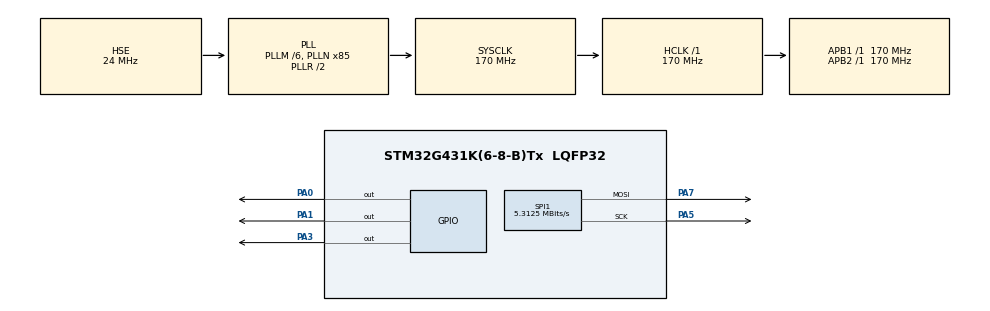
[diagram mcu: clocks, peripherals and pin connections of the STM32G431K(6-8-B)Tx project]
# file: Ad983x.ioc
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Mcu.Family=STM32G4
Mcu.Name=STM32G431K(6-8-B)Tx
Mcu.Package=LQFP32
NVIC.PriorityGroup=NVIC_PRIORITYGROUP_4
NVIC.SPI1_IRQn=true\:0\:0\:false\:false\:true\:true\:true\:true
PA0.Signal=GPIO_Output
PA1.Signal=GPIO_Output
PA13.Mode=Serial_Wire
PA13.Signal=SYS_JTMS-SWDIO
PA14.Mode=Serial_Wire
PA14.Signal=SYS_JTCK-SWCLK
PA3.Signal=GPIO_Output
PA5.Mode=TX_Only_Simplex_Unidirect_Master
PA5.Signal=SPI1_SCK
PA7.Mode=TX_Only_Simplex_Unidirect_Master
PA7.Signal=SPI1_MOSI
PF0-OSC_IN.Mode=HSE-External-Oscillator
PF0-OSC_IN.Signal=RCC_OSC_IN
PF1-OSC_OUT.Mode=HSE-External-Oscillator
PF1-OSC_OUT.Signal=RCC_OSC_OUT
ProjectManager.HeapSize=0x200
ProjectManager.StackSize=0x400
ProjectManager.TargetToolchain=STM32CubeIDE
RCC.ADC12Freq_Value=170000000
RCC.AHBFreq_Value=170000000
RCC.APB1Freq_Value=170000000
RCC.APB1TimFreq_Value=170000000
RCC.APB2Freq_Value=170000000
RCC.APB2TimFreq_Value=170000000
RCC.CortexFreq_Value=170000000
RCC.EXTERNAL_CLOCK_VALUE=12288000
RCC.HCLKFreq_Value=170000000
RCC.HSE_VALUE=24000000
RCC.HSI48_VALUE=48000000
RCC.HSI_VALUE=16000000
RCC.LSE_VALUE=32768
RCC.PLLM=RCC_PLLM_DIV6
RCC.PLLN=85
RCC.PLLSourceVirtual=RCC_PLLSOURCE_HSE
RCC.SYSCLKFreq_VALUE=170000000
RCC.SYSCLKSource=RCC_SYSCLKSOURCE_PLLCLK
RCC.USBFreq_Value=170000000
RCC.VCOOutputFreq_Value=340000000
SPI1.BaudRatePrescaler=SPI_BAUDRATEPRESCALER_32
SPI1.CLKPolarity=SPI_POLARITY_HIGH
SPI1.CalculateBaudRate=5.3125 MBits/s
SPI1.DataSize=SPI_DATASIZE_8BIT
SPI1.Direction=SPI_DIRECTION_2LINES
SPI1.Mode=SPI_MODE_MASTER
SPI1.VirtualType=VM_MASTER
VP_SYS_VS_DBSignals.Mode=DisableDeadBatterySignals
board=custom

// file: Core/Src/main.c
/* USER CODE BEGIN Header */
/**
 ******************************************************************************
 * @file           : main.c
 * @brief          : Main program body
 ******************************************************************************
 * @attention
 *
 * Copyright (c) 2026 STMicroelectronics.
 * All rights reserved.
 *
 * This software is licensed under terms that can be found in the LICENSE file
 * in the root directory of this software component.
 * If no LICENSE file comes with this software, it is provided AS-IS.
 *
 ******************************************************************************
 */
/* USER CODE END Header */
#include "main.h"

/* USER CODE BEGIN Includes */
#include "AD983x.h"
/* USER CODE END Includes */

SPI_HandleTypeDef hspi1;

/* USER CODE BEGIN PV */

static AD983x_Handle_t ad9833_dds = {
    .gpioPort                     = GPIOA,                     /* GPIO port used for DDS control pins              */
    .serialDataGpioPin            = GPIO_PIN_7,                /* SDATA: serial data line to the DDS               */
    .serialClockGpioPin           = GPIO_PIN_5,                /* SCLK: serial clock for shifting data             */
    .frameSyncGpioPin             = GPIO_PIN_0,                /* FSYNC: frame sync / chip select for DDS          */
    .spiHandle                    = &hspi1,                    /* Hardware SPI handle (NULL for software SPI)      */
    .masterClockFrequencyHz       = 25000000u,                 /* 25 MHz MCLK input provided to AD9833             */
    .currentWaveformType          = AD983X_WAVE_SINE,          /* Default waveform output (sine wave)              */
    .activeFrequencyRegister      = AD983X_REG_0,              /* Currently selected frequency register (FREQ0)    */
    .activePhaseRegister          = AD983X_REG_0,              /* Currently selected phase register (PHASE0)       */
    .sleep1BitState               = AD983X_SLEEP_DISABLED,     /* DAC sleep control bit state                      */
    .sleep12BitState              = AD983X_SLEEP_DISABLED,     /* Master clock / internal sleep control            */
    .deviceType                   = AD983X_DEVICE_AD9833,      /* Specifies the DDS device type                    */
    .frequencyHz                  = { 0u, 0u },                /* Stored frequencies for FREQ0 and FREQ1 registers */
    .phaseDeg                     = { 0u, 0u },                /* Stored phases for PHASE0 and PHASE1 registers    */
};

/* USER CODE END PV */

void SystemClock_Config(void);
static void MX_GPIO_Init(void);
static void MX_SPI1_Init(void);

int main(void)
{

  /* MCU Configuration--------------------------------------------------------*/

  /* Reset of all peripherals, Initializes the Flash interface and the Systick. */
  HAL_Init();

  /* Configure the system clock */
  SystemClock_Config();

  /* Initialize all configured peripherals */
  MX_GPIO_Init();
  MX_SPI1_Init();
  /* USER CODE BEGIN 2 */

  /* Initialize: sine 1 kHz — scope should show 1 kHz sine */
  AD983x_Init(&ad9833_dds, AD983X_WAVE_SINE, 1000u, 0u);
  HAL_Delay(3000);

  /* USER CODE END 2 */

  /* Infinite loop */
  /* USER CODE BEGIN WHILE */
	while (1) {

		/* --- Frequency tests (sine waveform) --- */

		/* 10 kHz sine — scope: 10 kHz sine */
		AD983x_SetFrequencyHz(&ad9833_dds, AD983X_REG_0, 10000u);
		HAL_Delay(3000);

		/* 100 kHz sine — scope: 100 kHz sine */
		AD983x_SetFrequencyHz(&ad9833_dds, AD983X_REG_0, 100000u);
		HAL_Delay(3000);

		/* 1 MHz sine — scope: 1 MHz sine */
		AD983x_SetFrequencyHz(&ad9833_dds, AD983X_REG_0, 1000000u);
		HAL_Delay(3000);

		/* Back to 1 kHz for register switching tests */
		AD983x_SetFrequencyHz(&ad9833_dds, AD983X_REG_0, 1000u);
		HAL_Delay(3000);

		/* --- FREQ register switching tests --- */

		/* Load 5 kHz into FREQ1 — scope: still 1 kHz (FREQ0 active) */
		AD983x_SetFrequencyHz(&ad9833_dds, AD983X_REG_1, 5000u);
		HAL_Delay(3000);

		/* Switch to FREQ1 — scope: jumps to 5 kHz */
		AD983x_SelectFreqReg(&ad9833_dds, AD983X_REG_1);
		HAL_Delay(3000);

		/* Switch back to FREQ0 — scope: returns to 1 kHz */
		AD983x_SelectFreqReg(&ad9833_dds, AD983X_REG_0);
		HAL_Delay(3000);

		/* --- Waveform tests (1 kHz) --- */

		/* Triangle — scope: 1 kHz triangle */
		AD983x_SetWaveform(&ad9833_dds, AD983X_WAVE_TRIANGLE);
		HAL_Delay(3000);

		/* Square — scope: 1 kHz square wave */
		AD983x_SetWaveform(&ad9833_dds, AD983X_WAVE_SQUARE);
		HAL_Delay(3000);

		/* Sine — scope: 1 kHz sine */
		AD983x_SetWaveform(&ad9833_dds, AD983X_WAVE_SINE);
		HAL_Delay(3000);

		/* --- Power tests --- */

		/* Sleep — scope: output freezes at DC (MCLK stopped, DAC holds) */
		AD983x_Sleep(&ad9833_dds);
		HAL_Delay(3000);

		/* Wake — scope: 1 kHz sine resumes */
		AD983x_Wake(&ad9833_dds);
		HAL_Delay(3000);

		/* Deep sleep — scope: output drops to 0 V (MCLK + DAC off) */
		AD983x_DeepSleep(&ad9833_dds);
		HAL_Delay(3000);

		/* Wake — scope: 1 kHz sine resumes */
		AD983x_Wake(&ad9833_dds);
		HAL_Delay(3000);

		/* DAC off — scope: output goes to 0 V (DAC off, MCLK still runs) */
		AD983x_DacOff(&ad9833_dds);
		HAL_Delay(3000);

		/* Wake — scope: 1 kHz sine resumes */
		AD983x_Wake(&ad9833_dds);
		HAL_Delay(3000);

    /* USER CODE END WHILE */

	}
}

void SystemClock_Config(void)
{
  RCC_OscInitTypeDef RCC_OscInitStruct = {0};
  RCC_ClkInitTypeDef RCC_ClkInitStruct = {0};

  /** Configure the main internal regulator output voltage
  */
  HAL_PWREx_ControlVoltageScaling(PWR_REGULATOR_VOLTAGE_SCALE1_BOOST);

  /** Initializes the RCC Oscillators according to the specified parameters
  * in the RCC_OscInitTypeDef structure.
  */
  RCC_OscInitStruct.OscillatorType = RCC_OSCILLATORTYPE_HSE;
  RCC_OscInitStruct.HSEState = RCC_HSE_ON;
  RCC_OscInitStruct.PLL.PLLState = RCC_PLL_ON;
  RCC_OscInitStruct.PLL.PLLSource = RCC_PLLSOURCE_HSE;
  RCC_OscInitStruct.PLL.PLLM = RCC_PLLM_DIV6;
  RCC_OscInitStruct.PLL.PLLN = 85;
  RCC_OscInitStruct.PLL.PLLP = RCC_PLLP_DIV2;
  RCC_OscInitStruct.PLL.PLLQ = RCC_PLLQ_DIV2;
  RCC_OscInitStruct.PLL.PLLR = RCC_PLLR_DIV2;
  if (HAL_RCC_OscConfig(&RCC_OscInitStruct) != HAL_OK)
  {
    Error_Handler();
  }

  /** Initializes the CPU, AHB and APB buses clocks
  */
  RCC_ClkInitStruct.ClockType = RCC_CLOCKTYPE_HCLK|RCC_CLOCKTYPE_SYSCLK
                              |RCC_CLOCKTYPE_PCLK1|RCC_CLOCKTYPE_PCLK2;
  RCC_ClkInitStruct.SYSCLKSource = RCC_SYSCLKSOURCE_PLLCLK;
  RCC_ClkInitStruct.AHBCLKDivider = RCC_SYSCLK_DIV1;
  RCC_ClkInitStruct.APB1CLKDivider = RCC_HCLK_DIV1;
  RCC_ClkInitStruct.APB2CLKDivider = RCC_HCLK_DIV1;

  if (HAL_RCC_ClockConfig(&RCC_ClkInitStruct, FLASH_LATENCY_4) != HAL_OK)
  {
    Error_Handler();
  }
}

static void MX_SPI1_Init(void)
{

  /* SPI1 parameter configuration*/
  hspi1.Instance = SPI1;
  hspi1.Init.Mode = SPI_MODE_MASTER;
  hspi1.Init.Direction = SPI_DIRECTION_2LINES;
  hspi1.Init.DataSize = SPI_DATASIZE_8BIT;
  hspi1.Init.CLKPolarity = SPI_POLARITY_HIGH;
  hspi1.Init.CLKPhase = SPI_PHASE_1EDGE;
  hspi1.Init.NSS = SPI_NSS_SOFT;
  hspi1.Init.BaudRatePrescaler = SPI_BAUDRATEPRESCALER_32;
  hspi1.Init.FirstBit = SPI_FIRSTBIT_MSB;
  hspi1.Init.TIMode = SPI_TIMODE_DISABLE;
  hspi1.Init.CRCCalculation = SPI_CRCCALCULATION_DISABLE;
  hspi1.Init.CRCPolynomial = 7;
  hspi1.Init.CRCLength = SPI_CRC_LENGTH_DATASIZE;
  hspi1.Init.NSSPMode = SPI_NSS_PULSE_ENABLE;
  if (HAL_SPI_Init(&hspi1) != HAL_OK)
  {
    Error_Handler();
  }

}

static void MX_GPIO_Init(void)
{
  GPIO_InitTypeDef GPIO_InitStruct = {0};

  /* GPIO Ports Clock Enable */
  __HAL_RCC_GPIOF_CLK_ENABLE();
  __HAL_RCC_GPIOA_CLK_ENABLE();

  /*Configure GPIO pin Output Level */
  HAL_GPIO_WritePin(GPIOA, GPIO_PIN_0|GPIO_PIN_1|GPIO_PIN_3, GPIO_PIN_RESET);

  /*Configure GPIO pins : PA0 PA1 PA3 */
  GPIO_InitStruct.Pin = GPIO_PIN_0|GPIO_PIN_1|GPIO_PIN_3;
  GPIO_InitStruct.Mode = GPIO_MODE_OUTPUT_PP;
  GPIO_InitStruct.Pull = GPIO_NOPULL;
  GPIO_InitStruct.Speed = GPIO_SPEED_FREQ_LOW;
  HAL_GPIO_Init(GPIOA, &GPIO_InitStruct);

}

void Error_Handler(void)
{
	__disable_irq();
	while (1) {
	}
}
